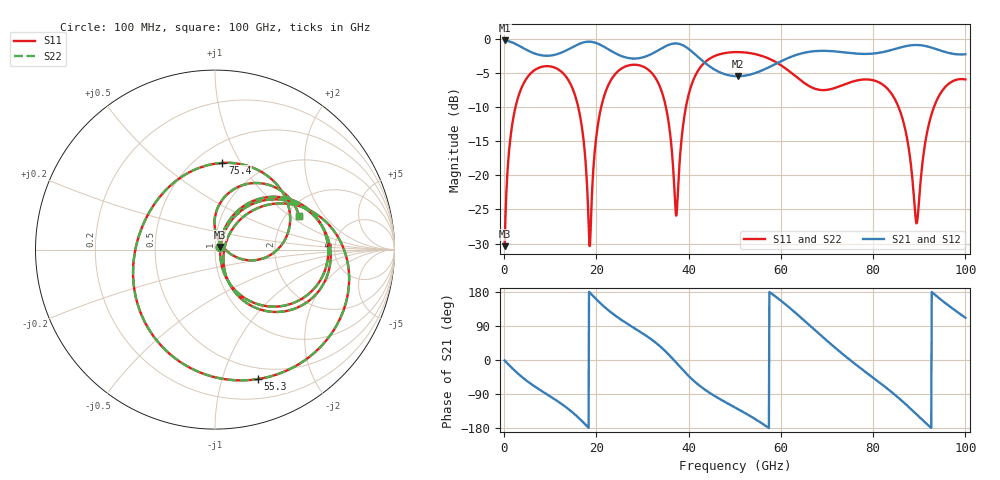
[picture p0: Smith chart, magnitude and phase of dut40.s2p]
! Touchstone file exported from HFSS 2026.1.0
!  File:  C:/ffzhzh/LocalFiles/Ansys_Project_Files/temp_train_TSV_RDL_40_1783442484_41684.aedt
!  Generated:  12:57:51 AM Jul  8, 2026
!  Design:  TSV_RDL
!  Project:  temp_train_TSV_RDL_40_1783442484_41684
! Variables:
!  h_bsmrdl = 2.35um
!  h_ox = 20um
!  h_rdl = 5um
!  h_sub = 62.28um
!  h_tmrdl = 3.08um
!  h_tsv = 62.28um
!  h_via = 3um
!  l_bsmrdl = 655.86um
!  l_sub = 3383.71um
!  l_tmrdl = 224.13um
!  m_sub = 200um
!  pitch = 51.91um
!  r_tsv = 8.35um
!  s_tmrdl = 10um
!  w_bsmrdl = 13.7um
!  w_sub = 500um
!  w_tmrdl = 26.17um
!  x_tsv_center1 = 237.215um
!  x_tsv_center2 = 906.775um
!  x_tsv_center3 = 1157.075um
!  x_tsv_center4 = 1826.635um
!  x_tsv_center5 = 2076.935um
!  x_tsv_center6 = 2746.495um
# GHz S MA R 50.000000
! Terminal data exported
! Port[1] = TM_RDL1_1_T1
! Port[2] = TM_RDL5_1_T1
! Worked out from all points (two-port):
!   1000 points, 100 MHz to 100 GHz, reference 50 ohm
!   highest |S21| = -0.23 dB at 100 MHz (marker M1); lowest = -5.5 dB at 50.6 GHz (marker M2)
!   |S21| within 3 dB of the highest: start of sweep to 43.03 GHz; 60.19 GHz to end of sweep
!   lowest |S11| = -30.4 dB at 100 MHz (marker M3), VSWR 1.06, Z = 52.7 + j1.5 ohm
!   |S11| at or under -10 dB: 16.06 GHz to 21.04 GHz (4.975 GHz wide, 26.8 % of centre); 35.07 GHz to 39.41 GHz (4.337 GHz wide, 11.6 % of centre); 85.51 GHz to 93.18 GHz (7.668 GHz wide, 8.58 % of centre) (the widest 3 of 4)
!   |S22| runs from -30.4 to -1.9 dB; largest |S21 - S12| = 1.7e-14
!   S11 on the Smith chart (normalised r, x): 100 MHz: 1.05, +0.03; 55.3 GHz: 0.38, -1.31; 75.4 GHz: 0.66, +0.84; 100 GHz: 2.35, +1.17
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0.1  0.03027 28.0  0.9735 -1.3  0.9735 -1.3  0.03027 28.0
! Gamma 0 0 0 0
! Port Impedance 50 0 50 0
1.8  0.2419 60.4  0.9398 -22.3  0.9398 -22.3  0.2419 60.4
5.2  0.5319 29.5  0.8194 -57.6  0.8194 -57.6  0.5319 29.6
10.6  0.6217 -11.8  0.7595 -100.8  0.7595 -100.8  0.6217 -11.8
16.8  0.2326 -65.0  0.9329 -160.3  0.9329 -160.3  0.2326 -65.0
18.6  0.03034 8.2  0.9533 177.4  0.9533 177.4  0.03065 8.2
20.3  0.232 58.1  0.9229 156.4  0.9229 156.4  0.2321 58.1
22.8  0.4744 35.4  0.8304 129.2  0.8304 129.2  0.4744 35.4
28  0.6463 -5.1  0.7174 85.9  0.7174 85.9  0.6462 -5.1
33.4  0.476 -46.8  0.824 40.3  0.824 40.3  0.4759 -46.8
37.3  0.05064 -9.4  0.9254 -7.0  0.9254 -7.0  0.05081 -9.4
41  0.4979 30.4  0.7916 -53.7  0.7916 -53.7  0.498 30.4
50.1  0.8 -36.3  0.5331 -125.6  0.5331 -125.6  0.8 -36.2
50.6  0.8002 -39.5  0.5325 -129.0  0.5325 -129.0  0.8003 -39.4
55.3  0.76 -71.7  0.576 -162.5  0.576 -162.5  0.7601 -71.6
61.2  0.6004 -123.0  0.7147 144.8  0.7147 144.8  0.6007 -122.8
66.7  0.4406 177.8  0.8084 86.3  0.8084 86.3  0.441 178.2
75.4  0.4848 85.1  0.7852 -4.0  0.7852 -4.0  0.4849 85.2
83.4  0.4204 13.8  0.8192 -78.7  0.8192 -78.7  0.4203 13.7
89.4  0.04446 32.8  0.9019 -143.4  0.9019 -143.4  0.04354 32.9
93.1  0.3109 78.1  0.8536 175.4  0.8536 175.4  0.3109 78.2
100  0.5043 21.7  0.771 111.4  0.771 111.4  0.5042 21.6
